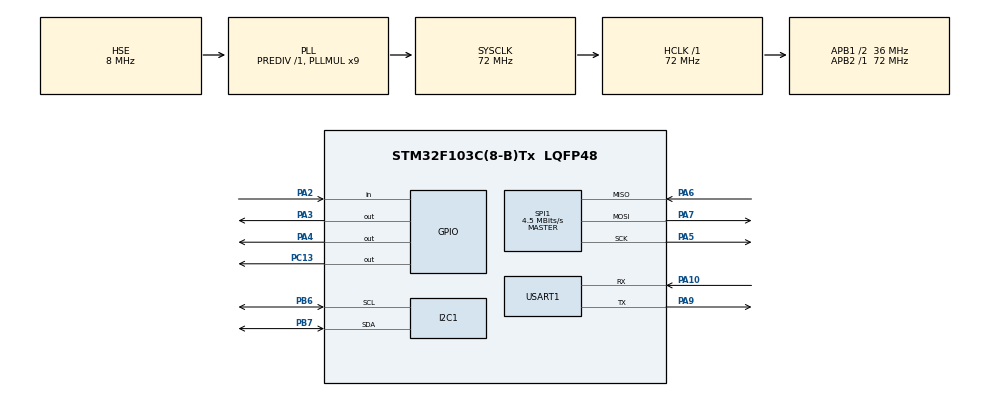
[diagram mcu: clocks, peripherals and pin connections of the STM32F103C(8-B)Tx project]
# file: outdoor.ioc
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Mcu.Family=STM32F1
Mcu.Name=STM32F103C(8-B)Tx
Mcu.Package=LQFP48
NVIC.I2C1_ER_IRQn=true\:0\:0\:false\:false\:true\:true
NVIC.I2C1_EV_IRQn=true\:0\:0\:false\:false\:true\:true
NVIC.PriorityGroup=NVIC_PRIORITYGROUP_4
NVIC.SPI1_IRQn=true\:0\:0\:false\:false\:true\:true
NVIC.USART1_IRQn=true\:0\:0\:false\:false\:true\:true
PA10.Mode=Asynchronous
PA10.Signal=USART1_RX
PA13.Mode=Serial_Wire
PA13.Signal=SYS_JTMS-SWDIO
PA14.Mode=Serial_Wire
PA14.Signal=SYS_JTCK-SWCLK
PA2.Signal=GPIO_Input
PA3.Signal=GPIO_Output
PA4.Signal=GPIO_Output
PA5.Mode=Full_Duplex_Master
PA5.Signal=SPI1_SCK
PA6.Mode=Full_Duplex_Master
PA6.Signal=SPI1_MISO
PA7.Mode=Full_Duplex_Master
PA7.Signal=SPI1_MOSI
PA9.Mode=Asynchronous
PA9.Signal=USART1_TX
PB6.Mode=I2C
PB6.Signal=I2C1_SCL
PB7.Mode=I2C
PB7.Signal=I2C1_SDA
PC13-TAMPER-RTC.Signal=GPIO_Output
PD0-OSC_IN.Mode=HSE-External-Oscillator
PD0-OSC_IN.Signal=RCC_OSC_IN
PD1-OSC_OUT.Mode=HSE-External-Oscillator
PD1-OSC_OUT.Signal=RCC_OSC_OUT
ProjectManager.HeapSize=0x200
ProjectManager.StackSize=0x400
ProjectManager.TargetToolchain=MDK-ARM V5
RCC.AHBFreq_Value=72000000
RCC.APB1CLKDivider=RCC_HCLK_DIV2
RCC.APB1Freq_Value=36000000
RCC.APB1TimFreq_Value=72000000
RCC.APB2Freq_Value=72000000
RCC.APB2TimFreq_Value=72000000
RCC.HCLKFreq_Value=72000000
RCC.PLLMUL=RCC_PLL_MUL9
RCC.PLLSourceVirtual=RCC_PLLSOURCE_HSE
RCC.SYSCLKFreq_VALUE=72000000
RCC.SYSCLKSource=RCC_SYSCLKSOURCE_PLLCLK
RCC.USBFreq_Value=72000000
SPI1.BaudRatePrescaler=SPI_BAUDRATEPRESCALER_16
SPI1.CalculateBaudRate=4.5 MBits/s
SPI1.Direction=SPI_DIRECTION_2LINES
SPI1.Mode=SPI_MODE_MASTER
SPI1.VirtualType=VM_MASTER
USART1.VirtualMode=VM_ASYNC
board=custom

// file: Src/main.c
/**
  ******************************************************************************
  * @file           : main.c
  * @brief          : Main program body
  ******************************************************************************
  ** This notice applies to any and all portions of this file
  * that are not between comment pairs USER CODE BEGIN and
  * USER CODE END. Other portions of this file, whether
  * inserted by the user or by software development tools
  * are owned by their respective copyright owners.
  *
  * COPYRIGHT(c) 2019 STMicroelectronics
  *
  * Redistribution and use in source and binary forms, with or without modification,
  * are permitted provided that the following conditions are met:
  *   1. Redistributions of source code must retain the above copyright notice,
  *      this list of conditions and the following disclaimer.
  *   2. Redistributions in binary form must reproduce the above copyright notice,
  *      this list of conditions and the following disclaimer in the documentation
  *      and/or other materials provided with the distribution.
  *   3. Neither the name of STMicroelectronics nor the names of its contributors
  *      may be used to endorse or promote products derived from this software
  *      without specific prior written permission.
  *
  * THIS SOFTWARE IS PROVIDED BY THE COPYRIGHT HOLDERS AND CONTRIBUTORS "AS IS"
  * AND ANY EXPRESS OR IMPLIED WARRANTIES, INCLUDING, BUT NOT LIMITED TO, THE
  * IMPLIED WARRANTIES OF MERCHANTABILITY AND FITNESS FOR A PARTICULAR PURPOSE ARE
  * DISCLAIMED. IN NO EVENT SHALL THE COPYRIGHT HOLDER OR CONTRIBUTORS BE LIABLE
  * FOR ANY DIRECT, INDIRECT, INCIDENTAL, SPECIAL, EXEMPLARY, OR CONSEQUENTIAL
  * DAMAGES (INCLUDING, BUT NOT LIMITED TO, PROCUREMENT OF SUBSTITUTE GOODS OR
  * SERVICES; LOSS OF USE, DATA, OR PROFITS; OR BUSINESS INTERRUPTION) HOWEVER
  * CAUSED AND ON ANY THEORY OF LIABILITY, WHETHER IN CONTRACT, STRICT LIABILITY,
  * OR TORT (INCLUDING NEGLIGENCE OR OTHERWISE) ARISING IN ANY WAY OUT OF THE USE
  * OF THIS SOFTWARE, EVEN IF ADVISED OF THE POSSIBILITY OF SUCH DAMAGE.
  *
  ******************************************************************************
  */
#include "main.h"
#include "stm32f1xx_hal.h"

/* USER CODE BEGIN Includes */
#include "NRF24.h"
#include <string.h>
#include "I2C_scaner.h"
//#include "BME280.h"
/* USER CODE END Includes */

I2C_HandleTypeDef hi2c1;

SPI_HandleTypeDef hspi1;

UART_HandleTypeDef huart1;

/* USER CODE BEGIN PV */
/* Private variables ---------------------------------------------------------*/
//uint8_t dt_reg=0;
uint8_t retr_cnt, dt;
uint16_t i=1; //****************************************
uint16_t retr_cnt_full;
char str1[20]={0};
uint8_t buf1[20]={0};

float cTemp=0;
int32_t T=0;
/* USER CODE END PV */

void SystemClock_Config(void);
static void MX_GPIO_Init(void);
static void MX_SPI1_Init(void);
static void MX_USART1_UART_Init(void);
static void MX_I2C1_Init(void);

/* USER CODE BEGIN PFP */
/* Private function prototypes -----------------------------------------------*/
void I2C_scaner(void);
void init_BME280(void);
void read_data_BME280(void);

/* USER CODE END PFP */

int main(void)
{

  /* MCU Configuration----------------------------------------------------------*/

  /* Reset of all peripherals, Initializes the Flash interface and the Systick. */
  HAL_Init();

  /* Configure the system clock */
  SystemClock_Config();

  /* Initialize all configured peripherals */
  MX_GPIO_Init();
  MX_SPI1_Init();
  MX_USART1_UART_Init();
  MX_I2C1_Init();
  /* USER CODE BEGIN 2 */
  //I2C_scaner();
	NRF24_ini();
	init_BME280();
  /* USER CODE END 2 */

  /* Infinite loop */
  /* USER CODE BEGIN WHILE */
  while (1)
  {
		  // 0x76
//		  HAL_Delay(1000);
//		  uint8_t i=111;
//		  NRF24L01_Send((uint8_t*)&i);

//
//		  init_BME280();
//		  HAL_Delay(300);

//			sprintf(str1,"TEST TRANSMIT\n\r");
//			HAL_UART_Transmit(&huart1,(uint8_t*)str1,strlen(str1),0x1000);
//		  HAL_Delay(100);

		      int i=100;
		      while(1)
					{
							i=i+100;
							read_data_BME280();

						  ///////
						  sprintf(str1,"TEMPERATURE: %d \n\r",T);
        			HAL_UART_Transmit(&huart1,(uint8_t*)str1,strlen(str1),0x1000);
							///////

							NRF24L01_Send((uint8_t*)&T);		// Transmit data
							HAL_Delay(1000);
					}

//			// WORK!
//		  HAL_Delay(1000);
//		  memcpy(buf1,(uint8_t*)&i,2);
//	    if(retr_cnt_full>999)
//			{
//					retr_cnt_full=999;
//			}
//			memcpy(buf1+2,(uint8_t*)&retr_cnt_full,2);
//			dt = NRF24L01_Send(buf1);
//			retr_cnt = dt & 0xF;
//			i++;
//			retr_cnt_full += retr_cnt;
//			if(i>=999)
//			{
//				  i=1;
//			}

/////////////////////////////////////////////////////////////////////////////////////////
//      HAL_Delay(1000);
//			dt_reg = NRF24_ReadReg(CONFIG);
//			sprintf(str1,"CONFIG: 0x%02X \n\r",dt_reg);
//			HAL_UART_Transmit(&huart1,(uint8_t*)str1,strlen(str1),0x1000);
//			dt_reg = NRF24_ReadReg(EN_AA);
//			sprintf(str1,"EN_AA: 0x%02X \n\r",dt_reg);
//			HAL_UART_Transmit(&huart1,(uint8_t*)str1,strlen(str1),0x1000);
//			dt_reg = NRF24_ReadReg(EN_RXADDR);
//			sprintf(str1,"EN_RXADDR: 0x%02X \n\r",dt_reg);
//			HAL_UART_Transmit(&huart1,(uint8_t*)str1,strlen(str1),0x1000);
//			dt_reg = NRF24_ReadReg(STATUS);
//			sprintf(str1,"STATUS: 0x%02X \n\r",dt_reg);
//			HAL_UART_Transmit(&huart1,(uint8_t*)str1,strlen(str1),0x1000);
//			dt_reg = NRF24_ReadReg(RF_SETUP);
//			sprintf(str1,"RF_SETUP: 0x%02X \n\r",dt_reg);
//			HAL_UART_Transmit(&huart1,(uint8_t*)str1,strlen(str1),0x1000);
//			NRF24_Read_Buf(TX_ADDR,buf1,3);
//			sprintf(str1,"TX_ADDR: 0x%02X, 0x%02X, 0x%02X \n\r",buf1[0],buf1[1],buf1[2]);
//			HAL_UART_Transmit(&huart1,(uint8_t*)str1,strlen(str1),0x1000);
//			NRF24_Read_Buf(RX_ADDR_P1,buf1,3);
//			sprintf(str1,"RX_ADDR: 0x%02X, 0x%02X, 0x%02X \n\r",buf1[0],buf1[1],buf1[2]);
//			HAL_UART_Transmit(&huart1,(uint8_t*)str1,strlen(str1),0x1000);
//////////////////////////////////////////////////////////////////////////////////////////
  /* USER CODE END WHILE */

  }

}

void SystemClock_Config(void)
{

  RCC_OscInitTypeDef RCC_OscInitStruct;
  RCC_ClkInitTypeDef RCC_ClkInitStruct;

    /**Initializes the CPU, AHB and APB busses clocks
    */
  RCC_OscInitStruct.OscillatorType = RCC_OSCILLATORTYPE_HSE;
  RCC_OscInitStruct.HSEState = RCC_HSE_ON;
  RCC_OscInitStruct.HSEPredivValue = RCC_HSE_PREDIV_DIV1;
  RCC_OscInitStruct.HSIState = RCC_HSI_ON;
  RCC_OscInitStruct.PLL.PLLState = RCC_PLL_ON;
  RCC_OscInitStruct.PLL.PLLSource = RCC_PLLSOURCE_HSE;
  RCC_OscInitStruct.PLL.PLLMUL = RCC_PLL_MUL9;
  if (HAL_RCC_OscConfig(&RCC_OscInitStruct) != HAL_OK)
  {
    _Error_Handler(__FILE__, __LINE__);
  }

    /**Initializes the CPU, AHB and APB busses clocks
    */
  RCC_ClkInitStruct.ClockType = RCC_CLOCKTYPE_HCLK|RCC_CLOCKTYPE_SYSCLK
                              |RCC_CLOCKTYPE_PCLK1|RCC_CLOCKTYPE_PCLK2;
  RCC_ClkInitStruct.SYSCLKSource = RCC_SYSCLKSOURCE_PLLCLK;
  RCC_ClkInitStruct.AHBCLKDivider = RCC_SYSCLK_DIV1;
  RCC_ClkInitStruct.APB1CLKDivider = RCC_HCLK_DIV2;
  RCC_ClkInitStruct.APB2CLKDivider = RCC_HCLK_DIV1;

  if (HAL_RCC_ClockConfig(&RCC_ClkInitStruct, FLASH_LATENCY_2) != HAL_OK)
  {
    _Error_Handler(__FILE__, __LINE__);
  }

    /**Configure the Systick interrupt time
    */
  HAL_SYSTICK_Config(HAL_RCC_GetHCLKFreq()/1000);

    /**Configure the Systick
    */
  HAL_SYSTICK_CLKSourceConfig(SYSTICK_CLKSOURCE_HCLK);

  /* SysTick_IRQn interrupt configuration */
  HAL_NVIC_SetPriority(SysTick_IRQn, 0, 0);
}

/* I2C1 init function */
static void MX_I2C1_Init(void)
{

  hi2c1.Instance = I2C1;
  hi2c1.Init.ClockSpeed = 100000;
  hi2c1.Init.DutyCycle = I2C_DUTYCYCLE_2;
  hi2c1.Init.OwnAddress1 = 0;
  hi2c1.Init.AddressingMode = I2C_ADDRESSINGMODE_7BIT;
  hi2c1.Init.DualAddressMode = I2C_DUALADDRESS_DISABLE;
  hi2c1.Init.OwnAddress2 = 0;
  hi2c1.Init.GeneralCallMode = I2C_GENERALCALL_DISABLE;
  hi2c1.Init.NoStretchMode = I2C_NOSTRETCH_DISABLE;
  if (HAL_I2C_Init(&hi2c1) != HAL_OK)
  {
    _Error_Handler(__FILE__, __LINE__);
  }

}

/* SPI1 init function */
static void MX_SPI1_Init(void)
{

  /* SPI1 parameter configuration*/
  hspi1.Instance = SPI1;
  hspi1.Init.Mode = SPI_MODE_MASTER;
  hspi1.Init.Direction = SPI_DIRECTION_2LINES;
  hspi1.Init.DataSize = SPI_DATASIZE_8BIT;
  hspi1.Init.CLKPolarity = SPI_POLARITY_LOW;
  hspi1.Init.CLKPhase = SPI_PHASE_1EDGE;
  hspi1.Init.NSS = SPI_NSS_SOFT;
  hspi1.Init.BaudRatePrescaler = SPI_BAUDRATEPRESCALER_16;
  hspi1.Init.FirstBit = SPI_FIRSTBIT_MSB;
  hspi1.Init.TIMode = SPI_TIMODE_DISABLE;
  hspi1.Init.CRCCalculation = SPI_CRCCALCULATION_DISABLE;
  hspi1.Init.CRCPolynomial = 10;
  if (HAL_SPI_Init(&hspi1) != HAL_OK)
  {
    _Error_Handler(__FILE__, __LINE__);
  }

}

/* USART1 init function */
static void MX_USART1_UART_Init(void)
{

  huart1.Instance = USART1;
  huart1.Init.BaudRate = 115200;
  huart1.Init.WordLength = UART_WORDLENGTH_8B;
  huart1.Init.StopBits = UART_STOPBITS_1;
  huart1.Init.Parity = UART_PARITY_NONE;
  huart1.Init.Mode = UART_MODE_TX_RX;
  huart1.Init.HwFlowCtl = UART_HWCONTROL_NONE;
  huart1.Init.OverSampling = UART_OVERSAMPLING_16;
  if (HAL_UART_Init(&huart1) != HAL_OK)
  {
    _Error_Handler(__FILE__, __LINE__);
  }

}

/** Configure pins as
        * Analog
        * Input
        * Output
        * EVENT_OUT
        * EXTI
*/
static void MX_GPIO_Init(void)
{

  GPIO_InitTypeDef GPIO_InitStruct;

  /* GPIO Ports Clock Enable */
  __HAL_RCC_GPIOC_CLK_ENABLE();
  __HAL_RCC_GPIOD_CLK_ENABLE();
  __HAL_RCC_GPIOA_CLK_ENABLE();
  __HAL_RCC_GPIOB_CLK_ENABLE();

  /*Configure GPIO pin Output Level */
  HAL_GPIO_WritePin(GPIOC, GPIO_PIN_13, GPIO_PIN_RESET);

  /*Configure GPIO pin Output Level */
  HAL_GPIO_WritePin(GPIOA, GPIO_PIN_3|GPIO_PIN_4, GPIO_PIN_RESET);

  /*Configure GPIO pin : PC13 */
  GPIO_InitStruct.Pin = GPIO_PIN_13;
  GPIO_InitStruct.Mode = GPIO_MODE_OUTPUT_PP;
  GPIO_InitStruct.Pull = GPIO_NOPULL;
  GPIO_InitStruct.Speed = GPIO_SPEED_FREQ_LOW;
  HAL_GPIO_Init(GPIOC, &GPIO_InitStruct);

  /*Configure GPIO pin : PA2 */
  GPIO_InitStruct.Pin = GPIO_PIN_2;
  GPIO_InitStruct.Mode = GPIO_MODE_INPUT;
  GPIO_InitStruct.Pull = GPIO_NOPULL;
  HAL_GPIO_Init(GPIOA, &GPIO_InitStruct);

  /*Configure GPIO pins : PA3 PA4 */
  GPIO_InitStruct.Pin = GPIO_PIN_3|GPIO_PIN_4;
  GPIO_InitStruct.Mode = GPIO_MODE_OUTPUT_PP;
  GPIO_InitStruct.Pull = GPIO_NOPULL;
  GPIO_InitStruct.Speed = GPIO_SPEED_FREQ_LOW;
  HAL_GPIO_Init(GPIOA, &GPIO_InitStruct);

}

void _Error_Handler(char *file, int line)
{
  while(1)
  {
  }
}

/************************ (C) COPYRIGHT STMicroelectronics *****END OF FILE****/
